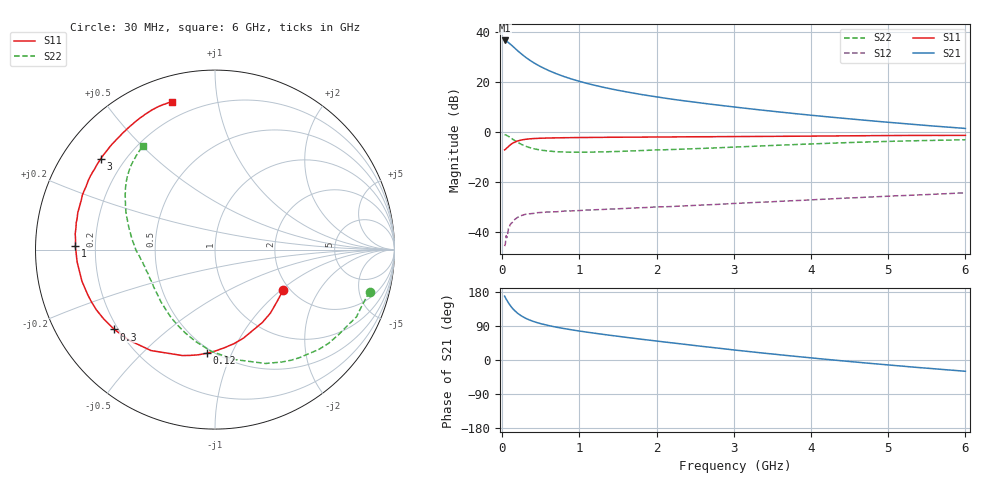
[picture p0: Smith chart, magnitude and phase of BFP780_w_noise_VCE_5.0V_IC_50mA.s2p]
! Infineon Technologies  Discrete & RF Semiconductors
! BFP780
! VCE =  5.0 V,  IC =  50 mA
! Common Emitter S-Parameters:  Jul 2015
# GHz  S  MA  R  50
!  f  S11  S21  S12  S22
! GHz  MAG  ANG  MAG  ANG  MAG  ANG  MAG  ANG
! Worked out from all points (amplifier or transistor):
!   75 points, 30 MHz to 6 GHz, reference 50 ohm
!   highest |S21| = 36.5 dB at 30 MHz (marker M1)
!   |S21| within 3 dB of that: start of sweep to 159.6 MHz
!   unconditionally stable (mu >= 1): 1.889 GHz to end of sweep
!   at 150 MHz: K = 0.20, MSG = 34.5 dB, |S12| = -35.1 dB
!   at 2.3 GHz: K = 1.11, MAG = 19.1 dB, |S12| = -29.5 dB
!   at 6 GHz: K = 1.21, MAG = 10.1 dB, |S12| = -24.2 dB
!   lowest NFmin = 1.39 dB at 450 MHz
!   S11 on the Smith chart (normalised r, x): 30 MHz: 1.85, -1.04; 120 MHz: 0.46, -0.81; 300 MHz: 0.18, -0.34; 1 GHz: 0.12, +0.01; 3 GHz: 0.12, +0.35; 6 GHz: 0.12, +0.75
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0.03  0.4419 -30.8  67.11 168.5  0.0053 60.9  0.8929 -15.3
0.05  0.4696 -48.9  65.02 160.8  0.0086 63.5  0.8727 -25.4
0.08  0.5176 -72.0  60.77 150.7  0.0119 55.1  0.8204 -39.5
0.1  0.5483 -84.2  57.38 144.8  0.0141 49.0  0.782 -47.7
0.12  0.5798 -94.6  53.95 139.3  0.0154 49.6  0.7469 -55.7
0.15  0.6176 -107.1  49 132.4  0.0175 43.1  0.6944 -66.0
0.2  0.6661 -122.4  41.72 123.1  0.02 37.5  0.6205 -80.4
0.25  0.6957 -133.4  35.91 116.0  0.0217 32.6  0.5665 -92.1
0.3  0.716 -141.6  31.21 110.3  0.0229 29.6  0.5232 -101.9
0.35  0.7306 -148.0  27.5 105.8  0.0234 27.1  0.4917 -110.0
0.4  0.7413 -153.1  24.5 102.0  0.0238 26.0  0.4683 -116.8
0.5  0.7527 -160.8  20.04 95.8  0.0249 23.0  0.4365 -127.7
0.7  0.7651 -171.2  14.56 86.6  0.0257 21.2  0.4054 -142.9
1  0.7783 178.6  10.26 76.4  0.0272 20.1  0.3968 -156.7
1.1  0.7788 176.0  9.315 73.4  0.0279 20.6  0.3962 -160.3
1.5  0.7877 167.1  6.801 62.6  0.0295 22.0  0.41 -170.3
2.1  0.7995 156.1  4.764 47.6  0.0323 22.7  0.4433 179.3
3  0.8135 141.4  3.17 26.5  0.0377 24.3  0.5008 164.4
3.1  0.8148 139.9  3.042 24.4  0.0382 24.3  0.5084 162.8
4.1  0.8323 125.8  2.095 3.6  0.0453 23.5  0.5869 148.5
5.1  0.8537 114.4  1.521 -14.8  0.0536 20.0  0.6568 135.9
6  0.8585 106.1  1.18 -29.7  0.0615 15.4  0.7025 124.9
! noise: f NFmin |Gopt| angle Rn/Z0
0.45  1.39  0.42  -177  0.07
0.9  1.42  0.4  -172  0.08
1.5  1.49  0.47  -163  0.08
1.8  1.66  0.48  -159  0.09
2.4  1.79  0.49  -150  0.12
3  2.06  0.53  -140  0.17
3.5  2.54  0.67  -126  0.26
